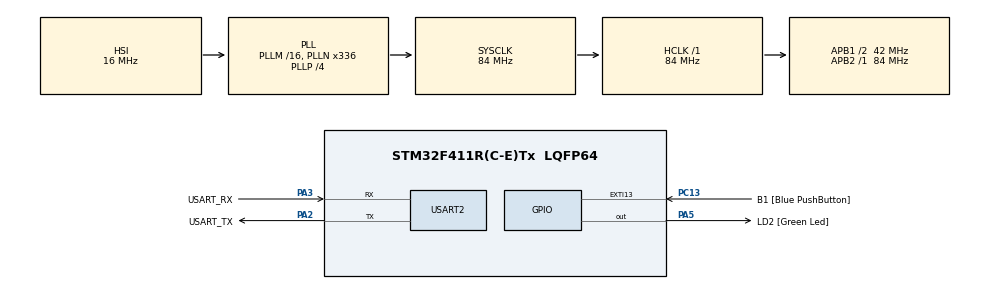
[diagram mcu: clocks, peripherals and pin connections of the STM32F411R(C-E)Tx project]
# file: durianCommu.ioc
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Dma.Request0=USART2_RX
Dma.USART2_RX.0.Direction=DMA_PERIPH_TO_MEMORY
Dma.USART2_RX.0.FIFOMode=DMA_FIFOMODE_DISABLE
Dma.USART2_RX.0.Instance=DMA1_Stream5
Dma.USART2_RX.0.MemDataAlignment=DMA_MDATAALIGN_BYTE
Dma.USART2_RX.0.MemInc=DMA_MINC_ENABLE
Dma.USART2_RX.0.Mode=DMA_CIRCULAR
Dma.USART2_RX.0.PeriphDataAlignment=DMA_PDATAALIGN_BYTE
Dma.USART2_RX.0.PeriphInc=DMA_PINC_DISABLE
Dma.USART2_RX.0.Priority=DMA_PRIORITY_VERY_HIGH
Mcu.Family=STM32F4
Mcu.Name=STM32F411R(C-E)Tx
Mcu.Package=LQFP64
NVIC.DMA1_Stream5_IRQn=true\:0\:0\:false\:false\:true\:false\:true\:true
NVIC.PriorityGroup=NVIC_PRIORITYGROUP_0
NVIC.USART2_IRQn=true\:0\:0\:false\:false\:true\:true\:true\:true
PA13.GPIO_Label=TMS
PA13.Mode=Serial_Wire
PA13.Signal=SYS_JTMS-SWDIO
PA14.GPIO_Label=TCK
PA14.Mode=Serial_Wire
PA14.Signal=SYS_JTCK-SWCLK
PA2.GPIO_Label=USART_TX
PA2.Mode=Asynchronous
PA2.Signal=USART2_TX
PA3.GPIO_Label=USART_RX
PA3.Mode=Asynchronous
PA3.Signal=USART2_RX
PA5.GPIO_Label=LD2 [Green Led]
PA5.Signal=GPIO_Output
PB3.GPIO_Label=SWO
PB3.Signal=SYS_JTDO-SWO
PC13-ANTI_TAMP.GPIO_Label=B1 [Blue PushButton]
PC13-ANTI_TAMP.GPIO_ModeDefaultEXTI=GPIO_MODE_IT_FALLING
PC13-ANTI_TAMP.Signal=GPXTI13
PC14-OSC32_IN.Mode=LSE-External-Oscillator
PC14-OSC32_IN.Signal=RCC_OSC32_IN
PC15-OSC32_OUT.Mode=LSE-External-Oscillator
PC15-OSC32_OUT.Signal=RCC_OSC32_OUT
PH0\ -\ OSC_IN.Mode=HSE-External-Clock-Source
PH0\ -\ OSC_IN.Signal=RCC_OSC_IN
PH1\ -\ OSC_OUT.Mode=HSE-External-Clock-Source
PH1\ -\ OSC_OUT.Signal=RCC_OSC_OUT
ProjectManager.HeapSize=0x200
ProjectManager.StackSize=0x400
ProjectManager.TargetToolchain=STM32CubeIDE
RCC.48MHZClocksFreq_Value=84000000
RCC.AHBFreq_Value=84000000
RCC.APB1CLKDivider=RCC_HCLK_DIV2
RCC.APB1Freq_Value=42000000
RCC.APB1TimFreq_Value=84000000
RCC.APB2Freq_Value=84000000
RCC.APB2TimFreq_Value=84000000
RCC.CortexFreq_Value=84000000
RCC.FLatency-AdvancedSettings=FLASH_LATENCY_2
RCC.HCLKFreq_Value=84000000
RCC.HSE_VALUE=8000000
RCC.HSI_VALUE=16000000
RCC.PLLN=336
RCC.PLLP=RCC_PLLP_DIV4
RCC.SYSCLKFreq_VALUE=84000000
RCC.SYSCLKSource=RCC_SYSCLKSOURCE_PLLCLK
RCC.VCOOutputFreq_Value=336000000
USART2.Parity=PARITY_EVEN
USART2.VirtualMode=VM_ASYNC
USART2.WordLength=WORDLENGTH_9B
board=NUCLEO-F411RE

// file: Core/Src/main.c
/* USER CODE BEGIN Header */
/**
  ******************************************************************************
  * @file           : main.c
  * @brief          : Main program body
  ******************************************************************************
  * @attention
  *
  * Copyright (c) 2022 STMicroelectronics.
  * All rights reserved.
  *
  * This software is licensed under terms that can be found in the LICENSE file
  * in the root directory of this software component.
  * If no LICENSE file comes with this software, it is provided AS-IS.
  *
  ******************************************************************************
  */
/* USER CODE END Header */
#include "main.h"

 UART_HandleTypeDef huart2;
DMA_HandleTypeDef hdma_usart2_rx;

/* USER CODE BEGIN PV */

char RxBuffer[1] = {0};
char TxBuffer[2] = {0};
uint8_t test = 0;
uint8_t menu = 0;
uint8_t lastMenu = 0;

/* USER CODE END PV */

void SystemClock_Config(void);
static void MX_GPIO_Init(void);
static void MX_DMA_Init(void);
static void MX_USART2_UART_Init(void);

int main(void)
{

  /* MCU Configuration--------------------------------------------------------*/

  /* Reset of all peripherals, Initializes the Flash interface and the Systick. */
  HAL_Init();

  /* Configure the system clock */
  SystemClock_Config();

  /* Initialize all configured peripherals */
  MX_GPIO_Init();
  MX_DMA_Init();
  MX_USART2_UART_Init();
  /* USER CODE BEGIN 2 */

  HAL_UART_Receive_DMA(&huart2, (uint8_t*)RxBuffer, 1);

  /* USER CODE END 2 */

  /* Infinite loop */
  /* USER CODE BEGIN WHILE */
  while (1)
  {
	  switch(menu){
	  case 177: //Request Mode 01
		  RxBuffer[0] = 0;
		  test = 1;
		  TxBuffer[0] = 177;
		  TxBuffer[1] = 0;
		  HAL_UART_Transmit(&huart2, (uint8_t*)TxBuffer, 2, 1);
		  lastMenu = menu;
		  menu = 0;

	  default:
		  menu = RxBuffer[0];
	  }
    /* USER CODE END WHILE */

  }
}

void SystemClock_Config(void)
{
  RCC_OscInitTypeDef RCC_OscInitStruct = {0};
  RCC_ClkInitTypeDef RCC_ClkInitStruct = {0};

  /** Configure the main internal regulator output voltage
  */
  __HAL_RCC_PWR_CLK_ENABLE();
  __HAL_PWR_VOLTAGESCALING_CONFIG(PWR_REGULATOR_VOLTAGE_SCALE1);

  /** Initializes the RCC Oscillators according to the specified parameters
  * in the RCC_OscInitTypeDef structure.
  */
  RCC_OscInitStruct.OscillatorType = RCC_OSCILLATORTYPE_HSI;
  RCC_OscInitStruct.HSIState = RCC_HSI_ON;
  RCC_OscInitStruct.HSICalibrationValue = RCC_HSICALIBRATION_DEFAULT;
  RCC_OscInitStruct.PLL.PLLState = RCC_PLL_ON;
  RCC_OscInitStruct.PLL.PLLSource = RCC_PLLSOURCE_HSI;
  RCC_OscInitStruct.PLL.PLLM = 16;
  RCC_OscInitStruct.PLL.PLLN = 336;
  RCC_OscInitStruct.PLL.PLLP = RCC_PLLP_DIV4;
  RCC_OscInitStruct.PLL.PLLQ = 4;
  if (HAL_RCC_OscConfig(&RCC_OscInitStruct) != HAL_OK)
  {
    Error_Handler();
  }

  /** Initializes the CPU, AHB and APB buses clocks
  */
  RCC_ClkInitStruct.ClockType = RCC_CLOCKTYPE_HCLK|RCC_CLOCKTYPE_SYSCLK
                              |RCC_CLOCKTYPE_PCLK1|RCC_CLOCKTYPE_PCLK2;
  RCC_ClkInitStruct.SYSCLKSource = RCC_SYSCLKSOURCE_PLLCLK;
  RCC_ClkInitStruct.AHBCLKDivider = RCC_SYSCLK_DIV1;
  RCC_ClkInitStruct.APB1CLKDivider = RCC_HCLK_DIV2;
  RCC_ClkInitStruct.APB2CLKDivider = RCC_HCLK_DIV1;

  if (HAL_RCC_ClockConfig(&RCC_ClkInitStruct, FLASH_LATENCY_2) != HAL_OK)
  {
    Error_Handler();
  }
}

static void MX_USART2_UART_Init(void)
{

  huart2.Instance = USART2;
  huart2.Init.BaudRate = 115200;
  huart2.Init.WordLength = UART_WORDLENGTH_9B;
  huart2.Init.StopBits = UART_STOPBITS_1;
  huart2.Init.Parity = UART_PARITY_EVEN;
  huart2.Init.Mode = UART_MODE_TX_RX;
  huart2.Init.HwFlowCtl = UART_HWCONTROL_NONE;
  huart2.Init.OverSampling = UART_OVERSAMPLING_16;
  if (HAL_UART_Init(&huart2) != HAL_OK)
  {
    Error_Handler();
  }

}

static void MX_DMA_Init(void)
{

  /* DMA controller clock enable */
  __HAL_RCC_DMA1_CLK_ENABLE();

  /* DMA interrupt init */
  /* DMA1_Stream5_IRQn interrupt configuration */
  HAL_NVIC_SetPriority(DMA1_Stream5_IRQn, 0, 0);
  HAL_NVIC_EnableIRQ(DMA1_Stream5_IRQn);

}

static void MX_GPIO_Init(void)
{
  GPIO_InitTypeDef GPIO_InitStruct = {0};

  /* GPIO Ports Clock Enable */
  __HAL_RCC_GPIOC_CLK_ENABLE();
  __HAL_RCC_GPIOH_CLK_ENABLE();
  __HAL_RCC_GPIOA_CLK_ENABLE();
  __HAL_RCC_GPIOB_CLK_ENABLE();

  /*Configure GPIO pin Output Level */
  HAL_GPIO_WritePin(LD2_GPIO_Port, LD2_Pin, GPIO_PIN_RESET);

  /*Configure GPIO pin : B1_Pin */
  GPIO_InitStruct.Pin = B1_Pin;
  GPIO_InitStruct.Mode = GPIO_MODE_IT_FALLING;
  GPIO_InitStruct.Pull = GPIO_NOPULL;
  HAL_GPIO_Init(B1_GPIO_Port, &GPIO_InitStruct);

  /*Configure GPIO pin : LD2_Pin */
  GPIO_InitStruct.Pin = LD2_Pin;
  GPIO_InitStruct.Mode = GPIO_MODE_OUTPUT_PP;
  GPIO_InitStruct.Pull = GPIO_NOPULL;
  GPIO_InitStruct.Speed = GPIO_SPEED_FREQ_LOW;
  HAL_GPIO_Init(LD2_GPIO_Port, &GPIO_InitStruct);

}

void Error_Handler(void)
{
  __disable_irq();
  while (1)
  {
  }
}
